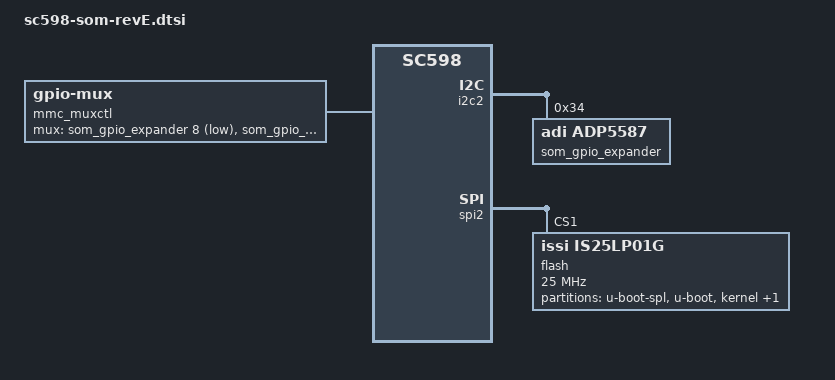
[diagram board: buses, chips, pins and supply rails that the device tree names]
// SPDX-License-Identifier: GPL-2.0
/*
 * Copyright (c) 2025 Analog Devices Incorporated
 */

/dts-v1/;

#include "sc598-som.dtsi"

/ {
	mmc_muxctl: mux-controller {
		compatible = "gpio-mux";
		#mux-state-cells = <1>;
		mux-gpios = <&som_gpio_expander 8 GPIO_ACTIVE_LOW>,
			    <&som_gpio_expander 9 GPIO_ACTIVE_LOW>;
		idle-state = <0>;
	};

	pinctrl-mmc-mux {
		compatible = "pinctrl-multiplexer";

		mmc_som_grp: som-grp {
			mux-states = <&mmc_muxctl 1>;
		};

		mmc_carrier_grp: carrier-grp {
			mux-states = <&mmc_muxctl 2>;
		};
	};
};

&i2c2 {
	som_gpio_expander: gpio@34 {
		compatible = "adi,adp5587";
		reg = <0x34>;
		gpio-controller;
		#gpio-cells = <2>;

		uart0 {
			gpio-hog;
			gpios = <0 GPIO_ACTIVE_LOW>;
			output-high;
			line-name = "uart0-en";
		};

		uart0-flow {
			gpio-hog;
			gpios = <1 GPIO_ACTIVE_LOW>;
			output-low;
			line-name = "uart0-flow-en";
		};

		som-flash-d2d3 {
			gpio-hog;
			gpios = <2 GPIO_ACTIVE_LOW>;
			output-high;
			line-name = "som-flash-d2d3-en";
		};

		som-flash-cs {
			gpio-hog;
			gpios = <3 GPIO_ACTIVE_LOW>;
			output-high;
			line-name = "som-flash-cs-en";
		};

		led-ds3 {
			gpio-hog;
			gpios = <15 GPIO_ACTIVE_LOW>;
			output-high;
			line-name = "led-ds3";
		};

		led-ds2 {
			gpio-hog;
			gpios = <16 GPIO_ACTIVE_LOW>;
			output-high;
			line-name = "led-ds2";
		};

		led-ds1 {
			gpio-hog;
			gpios = <17 GPIO_ACTIVE_LOW>;
			output-high;
			line-name = "led-ds1";
		};
	};
};

&spi2 {
	flash@1 {
		compatible = "issi,is25lp01g", "jedec,spi-nor";
		reg = <1>;
		spi-rx-bus-width = <4>;
		spi-max-frequency = <25000000>;

		partitions {
			compatible = "fixed-partitions";
			#address-cells = <1>;
			#size-cells = <1>;

			partition@0 {
				label = "u-boot-spl";
				reg = <0x00000000 0x40000>;
			};

			partition@40000 {
				label = "u-boot";
				reg = <0x00040000 0xC0000>;
			};

			partition@100000 {
				label = "kernel";
				reg = <0x00100000 0x2000000>;
			};

			partition@2100000 {
				label = "rootfs";
				reg = <0x02100000 0x5ef0000>;
			};
		};
	};
};
